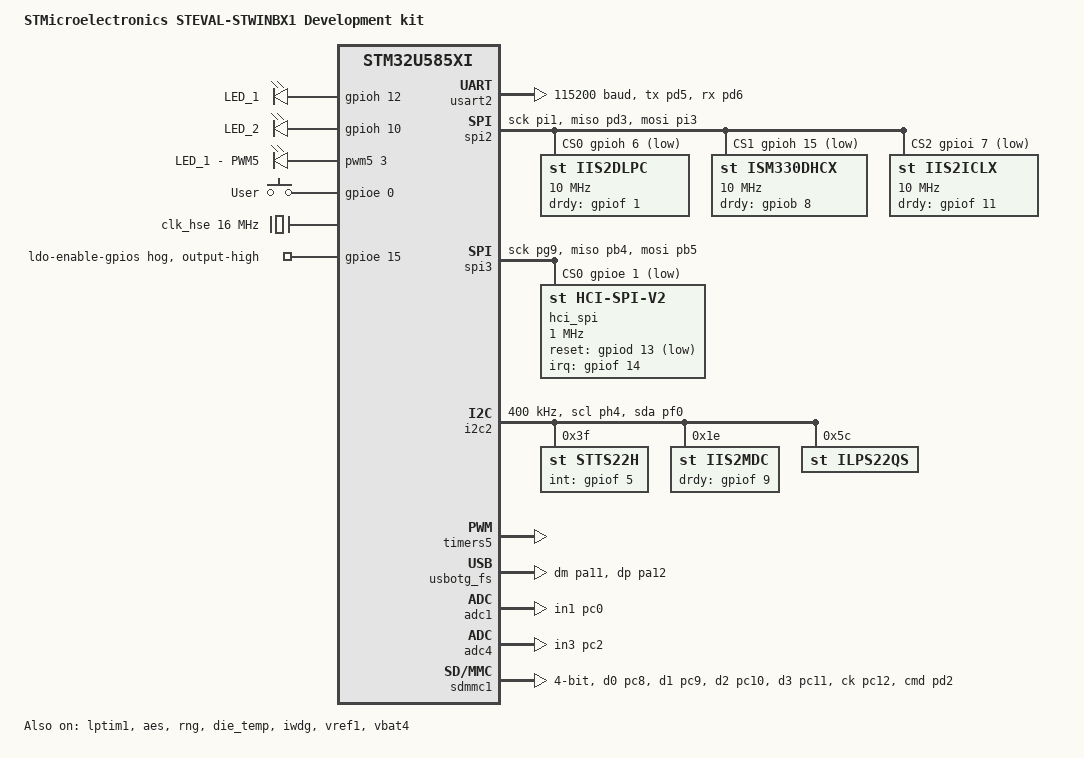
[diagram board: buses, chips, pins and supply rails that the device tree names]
/*
 * Copyright (c) 2024 STMicroelectronics
 *
 * SPDX-License-Identifier: Apache-2.0
 */

/dts-v1/;
 #include <st/u5/stm32u585Xi.dtsi>
 #include <st/u5/stm32u585aiixq-pinctrl.dtsi>
 #include <zephyr/dt-bindings/input/input-event-codes.h>

/ {
	model = "STMicroelectronics STEVAL-STWINBX1 Development kit";
	compatible = "st,steval_stwinbx1";

	chosen {
		zephyr,sram = &sram0;
		zephyr,flash = &flash0;
		zephyr,code-partition = &slot0_partition;

		zephyr,bt-hci = &hci_spi;
	};

	leds {
		compatible = "gpio-leds";
		green_led: led_1 {
			gpios = <&gpioh 12 GPIO_ACTIVE_HIGH>;
			label = "LED_1";
		};
		orange_led: led_2 {
			gpios = <&gpioh 10 GPIO_ACTIVE_HIGH>;
			label = "LED_2";
		};
	};

	pwmleds {
		compatible = "pwm-leds";

		green_pwm_led: green_pwm_led {
			pwms = <&pwm5 3 PWM_MSEC(20) PWM_POLARITY_NORMAL>;
			label = "LED_1 - PWM5";
		};
	};

	gpio_keys {
		compatible = "gpio-keys";
		user_button: button {
			label = "User";
			gpios = <&gpioe 0 GPIO_ACTIVE_HIGH>;
			zephyr,code = <INPUT_KEY_0>;
		};
	};

	aliases {
		led0 = &green_led;
		led1 = &orange_led;
		pwm-led0 = &green_pwm_led;
		sw0 = &user_button;
		mcuboot-led0 = &green_led;
		mcuboot-button0 = &user_button;
		watchdog0 = &iwdg;
		die-temp0 = &die_temp;
		volt-sensor0 = &vref1;
		volt-sensor1 = &vbat4;
	};
};

&clk_hsi48 {
	status = "okay";
};

&clk_hse {
	clock-frequency = <DT_FREQ_M(16)>;
	status = "okay";
};

&clk_lse {
	status = "okay";
};

&clk_msis {
	status = "okay";
	msi-range = <4>;
	msi-pll-mode;
};

&pll1 {
	div-m = <1>;
	mul-n = <10>;
	div-q = <2>;
	div-r = <1>;
	clocks = <&clk_hse>;
	status = "okay";
};

&pll2 {
	div-m = <2>;
	mul-n = <48>;
	div-p = <2>;
	div-q = <7>;
	div-r = <25>;
	clocks = <&clk_hse>;
	status = "okay";
};

&pll3 {
	div-m = <2>;
	mul-n = <48>;
	div-p = <2>;
	div-q = <25>;
	div-r = <2>;
	clocks = <&clk_hse>;
	status = "okay";
};

&rcc {
	clocks = <&pll1>;
	clock-frequency = <DT_FREQ_M(160)>;
	ahb-prescaler = <1>;
	apb1-prescaler = <1>;
	apb2-prescaler = <1>;
	apb3-prescaler = <1>;
};

&gpioe {
	status = "okay";

	/* Enable 2.7V Analog LDO */
	ldo-enable-gpios {
		gpio-hog;
		gpios = <15 GPIO_ACTIVE_HIGH>;
		output-high;
	};
};

stm32_lp_tick_source: &lptim1 {
	clocks = <&rcc STM32_CLOCK_BUS_APB3 0x00000800>,
		<&rcc STM32_SRC_LSE LPTIM1_SEL(3)>;
	status = "okay";
};

&usart2 {
	pinctrl-0 = <&usart2_tx_pd5 &usart2_rx_pd6>;
	pinctrl-names = "default";
	current-speed = <115200>;
	status = "okay";
};

&spi2 {
	pinctrl-0 = <&spi2_sck_pi1 &spi2_miso_pd3 &spi2_mosi_pi3>;
	pinctrl-names = "default";
	status = "okay";

	cs-gpios = <&gpioh 6 GPIO_ACTIVE_LOW>,
		   <&gpioh 15 GPIO_ACTIVE_LOW>,
		   <&gpioi 7 GPIO_ACTIVE_LOW>;
	iis2dlpc: iis2dlpc@0 {
		compatible = "st,iis2dlpc";
		spi-max-frequency = <DT_FREQ_M(10)>;
		reg = <0>;
		drdy-gpios = <&gpiof 1 (GPIO_ACTIVE_HIGH | GPIO_PULL_DOWN)>;
		drdy-int =  <1>;
	};

	ism330dhcx: ism330dhcx@1 {
		compatible = "st,ism330dhcx";
		spi-max-frequency = <DT_FREQ_M(10)>;
		reg = <1>;
		drdy-gpios =  <&gpiob 8 (GPIO_ACTIVE_HIGH | GPIO_PULL_DOWN)>;
		int-pin = <1>;
	};

	iis2iclx: iis2iclx@2 {
		compatible = "st,iis2iclx";
		spi-max-frequency = <DT_FREQ_M(10)>;
		reg = <2>;
		drdy-gpios = <&gpiof 11 (GPIO_ACTIVE_HIGH | GPIO_PULL_DOWN)>;
		int-pin =  <2>;
	};
};

&spi3 {
	pinctrl-0 = <&spi3_sck_pg9 &spi3_miso_pb4 &spi3_mosi_pb5>;
	pinctrl-names = "default";
	status = "okay";
	cs-gpios = <&gpioe 1 GPIO_ACTIVE_LOW>;
	hci_spi: bluenrg-2@0 {
		compatible = "st,hci-spi-v2";
		reg = <0>;
		reset-gpios = <&gpiod 13 GPIO_ACTIVE_LOW>;
		irq-gpios = <&gpiof 14 (GPIO_ACTIVE_HIGH | GPIO_PULL_DOWN)>;
		spi-cpha; /* CPHA=1 */
		spi-hold-cs;
		spi-max-frequency = <DT_FREQ_M(1)>;
		reset-assert-duration-ms = <6>;
	};
};

&i2c2 {
	pinctrl-0 = <&i2c2_scl_ph4 &i2c2_sda_pf0>;
	pinctrl-names = "default";
	status = "okay";
	clock-frequency = <I2C_BITRATE_FAST>;

	stts22h@3f {
		compatible = "st,stts22h";
		reg = <0x3f>;
		int-gpios = <&gpiof 5 GPIO_ACTIVE_HIGH>;
		status = "okay";
	};

	iis2mdc@1e {
		compatible = "st,iis2mdc";
		reg = <0x1e>;
		drdy-gpios = <&gpiof 9 GPIO_ACTIVE_HIGH>;
		status = "okay";
	};

	ilps22qs@5c {
		compatible = "st,ilps22qs";
		reg = <0x5c>;
		status = "okay";
	};
};

&timers5 {
	st,prescaler = <10000>;
	status = "okay";

	pwm5: pwm {
		status = "okay";
		pinctrl-0 = <&tim5_ch3_ph12>;
		pinctrl-names = "default";
	};
};


&aes {
	status = "okay";
};

&rng {
	status = "okay";
};

zephyr_udc0: &usbotg_fs {
	pinctrl-0 = <&usb_otg_fs_dm_pa11 &usb_otg_fs_dp_pa12>;
	pinctrl-names = "default";
	status = "okay";
};

#include <../boards/common/usb/cdc_acm_serial.dtsi>

&adc1 {
	pinctrl-0 = <&adc1_in1_pc0>;
	pinctrl-names = "default";
	st,adc-clock-source = "ASYNC";
	st,adc-prescaler = <4>;
	vref-mv = <2750>;
	status = "okay";
};

&adc4 {
	pinctrl-0 = <&adc4_in3_pc2>;
	pinctrl-names = "default";
	st,adc-clock-source = "ASYNC";
	st,adc-prescaler = <4>;
	vref-mv = <2750>;
	status = "okay";
};

&die_temp {
	status = "okay";
};

&iwdg {
	status = "okay";
};

&vref1 {
	status = "okay";
};

&vbat4 {
	status = "okay";
};

&sdmmc1 {
	status = "okay";
	pinctrl-0 = <&sdmmc1_d0_pc8 &sdmmc1_d1_pc9
		&sdmmc1_d2_pc10 &sdmmc1_d3_pc11
		&sdmmc1_ck_pc12 &sdmmc1_cmd_pd2>;
	pinctrl-names = "default";
	cd-gpios = <&gpiog 1 GPIO_ACTIVE_LOW>;
	bus-width = <4>;
	clk-div = <4>;
};

&flash0 {
	partitions {
		compatible = "fixed-partitions";
		#address-cells = <1>;
		#size-cells = <1>;

		/*
		 * Following flash partition is dedicated to the use of steval_stwinbx1
		 * with TZEN=0 (so w/o TFM).
		 * Set the partitions with first MB to make use of the whole Bank1
		 */
		boot_partition: partition@0 {
			label = "mcuboot";
			reg = <0x00000000 DT_SIZE_K(64)>;
		};
		slot0_partition: partition@10000 {
			label = "image-0";
			reg = <0x00010000 DT_SIZE_K(416)>;
		};
		slot1_partition: partition@78000 {
			label = "image-1";
			reg = <0x00078000 DT_SIZE_K(416)>;
		};
		scratch_partition: partition@e0000 {
			label = "image-scratch";
			reg = <0x000e0000 DT_SIZE_K(64)>;
		};
		storage_partition: partition@f0000 {
			label = "storage";
			reg = <0x000f0000 DT_SIZE_K(64)>;
		};

	};
};

&gpdma1 {
	status = "okay";
};
